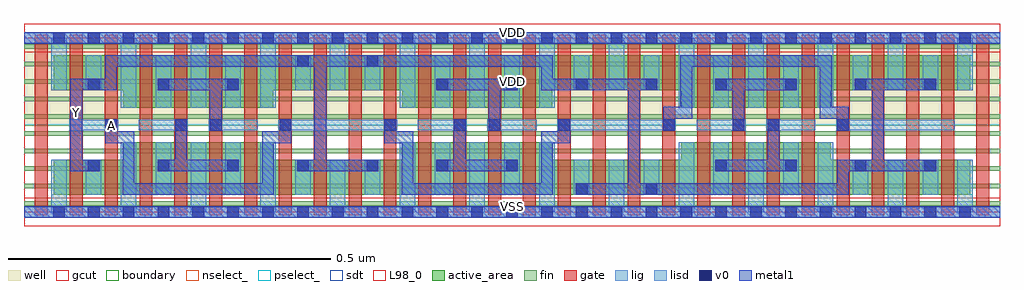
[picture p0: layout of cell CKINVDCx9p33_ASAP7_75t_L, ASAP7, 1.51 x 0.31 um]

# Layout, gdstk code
import gdstk
lib = gdstk.Library(unit=1e-6, precision=2.5e-10)
def R(c, l, rs):  # rectangles x0, y0, x1, y1
    for r in rs: c.add(gdstk.rectangle(r[:2], r[2:], *l))
def A(c, l, x, y, w, h, nx, ny, dx, dy):  # array of equal rectangles
    R(c, l, [(x+i*dx, y+j*dy, x+i*dx+w, y+j*dy+h) for i in range(nx) for j in range(ny)])
def P(c, l, *ps):  # polygons
    for p in ps: c.add(gdstk.Polygon(p, *l))
well = (1, 0)
fin = (2, 0)
gate = (7, 0)
gcut = (10, 0)
active_area = (11, 0)
nselect_ = (12, 0)
pselect_ = (13, 0)
lig = (16, 0)
lisd = (17, 0)
v0 = (18, 0)
metal1 = (19, 0)
sdt = (88, 0)
L98_0 = (98, 0)
boundary = (100, 0)

ckinvdcx9p33_asap7_75t_l = lib.new_cell('CKINVDCx9p33_ASAP7_75t_L')
R(ckinvdcx9p33_asap7_75t_l, well, [(0,0.135,1.512,0.27)])
A(ckinvdcx9p33_asap7_75t_l, fin, 0, 0.01, 1.512, 0.007, 1, 10, 0, 0.027)
A(ckinvdcx9p33_asap7_75t_l, gate, 0.017, -0.005, 0.02, 0.28, 28, 1, 0.054, 0)
R(ckinvdcx9p33_asap7_75t_l, gcut, [(0,-0.022,1.512,0.022), (0,0.248,1.512,0.292)])
P(ckinvdcx9p33_asap7_75t_l, active_area, [(1.25,0.108),(1.018,0.108),(1.018,0.081),(0.818,0.081),(0.818,0.108),(0.586,0.108),(0.586,0.081),(0.386,0.081),(0.386,0.108),(0.154,0.108),(0.154,0.081),(0.046,0.081),(0.046,0.027),(1.466,0.027),(1.466,0.081),(1.25,0.081)],
  [(1.466,0.243),(0.046,0.243),(0.046,0.189),(0.154,0.189),(0.154,0.162),(0.386,0.162),(0.386,0.189),(0.586,0.189),(0.586,0.162),(0.818,0.162),(0.818,0.189),(1.018,0.189),(1.018,0.162),(1.25,0.162),(1.25,0.189),(1.466,0.189)])
R(ckinvdcx9p33_asap7_75t_l, nselect_, [(0,0,1.512,0.135)])
R(ckinvdcx9p33_asap7_75t_l, pselect_, [(0,0.135,1.512,0.27)])
A(ckinvdcx9p33_asap7_75t_l, lig, 0.07, 0.127, 0.076, 0.016, 3, 1, 0.108, 0)
A(ckinvdcx9p33_asap7_75t_l, lig, 0.394, 0.127, 0.184, 0.016, 3, 1, 0.432, 0)
R(ckinvdcx9p33_asap7_75t_l, lig, [(0,-0.008,1.512,0.008), (0.07,0.126,0.092,0.144), (0.232,0.126,0.254,0.144), (0.286,0.126,0.308,0.144), (0.448,0.126,0.47,0.144), (0.664,0.126,0.686,0.144), (0.718,0.126,0.74,0.144), (0.826,0.126,0.848,0.144), (1.096,0.126,1.118,0.144), (1.15,0.126,1.172,0.144), (1.258,0.126,1.28,0.144), (0.61,0.127,0.686,0.143), (0.718,0.127,0.794,0.143), (1.042,0.127,1.118,0.143), (1.15,0.127,1.226,0.143), (0,0.262,1.512,0.278)])
R(ckinvdcx9p33_asap7_75t_l, lisd, [(0.042,0,0.066,0.081), (0.042,0,0.066,0.081), (0.15,0,0.174,0.108), (0.15,0,0.174,0.108), (0.258,0,0.282,0.108), (0.258,0,0.282,0.108), (0.366,0,0.39,0.108), (0.366,0,0.39,0.108), (0.474,0,0.498,0.081), (0.474,0,0.498,0.081), (0.582,0,0.606,0.108), (0.582,0,0.606,0.108), (0.69,0,0.714,0.108), (0.69,0,0.714,0.108), (0.798,0,0.822,0.108), (0.798,0,0.822,0.108), (0.906,0,0.93,0.081), (0.906,0,0.93,0.081), (1.014,0,1.038,0.108), (1.014,0,1.038,0.108), (1.122,0,1.146,0.108), (1.122,0,1.146,0.108), (1.23,0,1.254,0.108), (1.23,0,1.254,0.108), (1.338,0,1.362,0.081), (1.338,0,1.362,0.081), (1.446,0,1.47,0.081), (1.446,0,1.47,0.081), (0.096,0.027,0.12,0.081), (0.204,0.027,0.228,0.108), (0.312,0.027,0.336,0.108), (0.42,0.027,0.444,0.081), (0.528,0.027,0.552,0.081), (0.636,0.027,0.66,0.108), (0.744,0.027,0.768,0.108), (0.852,0.027,0.876,0.081), (0.96,0.027,0.984,0.081), (1.068,0.027,1.092,0.108), (1.176,0.027,1.2,0.108), (1.284,0.027,1.308,0.081), (1.392,0.027,1.416,0.081), (0.15,0.162,0.174,0.27), (0.15,0.162,0.174,0.27), (0.204,0.162,0.228,0.243), (0.258,0.162,0.282,0.27), (0.258,0.162,0.282,0.27), (0.312,0.162,0.336,0.243), (0.366,0.162,0.39,0.27), (0.366,0.162,0.39,0.27), (0.582,0.162,0.606,0.27), (0.582,0.162,0.606,0.27), (0.636,0.162,0.66,0.243), (0.69,0.162,0.714,0.27), (0.69,0.162,0.714,0.27), (0.744,0.162,0.768,0.243), (0.798,0.162,0.822,0.27), (0.798,0.162,0.822,0.27), (1.014,0.162,1.038,0.27), (1.014,0.162,1.038,0.27), (1.068,0.162,1.092,0.243), (1.122,0.162,1.146,0.27), (1.122,0.162,1.146,0.27), (1.176,0.162,1.2,0.243), (1.23,0.162,1.254,0.27), (1.23,0.162,1.254,0.27), (0.042,0.189,0.066,0.27), (0.042,0.189,0.066,0.27), (0.096,0.189,0.12,0.243), (0.42,0.189,0.444,0.243), (0.474,0.189,0.498,0.27), (0.474,0.189,0.498,0.27), (0.528,0.189,0.552,0.243), (0.852,0.189,0.876,0.243), (0.906,0.189,0.93,0.27), (0.906,0.189,0.93,0.27), (0.96,0.189,0.984,0.243), (1.284,0.189,1.308,0.243), (1.338,0.189,1.362,0.27), (1.338,0.189,1.362,0.27), (1.392,0.189,1.416,0.243), (1.446,0.189,1.47,0.27), (1.446,0.189,1.47,0.27)])
A(ckinvdcx9p33_asap7_75t_l, v0, 0.045, -0.009, 0.018, 0.018, 27, 2, 0.054, 0.27)
A(ckinvdcx9p33_asap7_75t_l, v0, 0.099, 0.063, 0.018, 0.018, 7, 1, 0.108, 0)
A(ckinvdcx9p33_asap7_75t_l, v0, 1.071, 0.063, 0.018, 0.018, 4, 1, 0.108, 0)
A(ckinvdcx9p33_asap7_75t_l, v0, 0.099, 0.189, 0.018, 0.018, 3, 1, 0.108, 0)
A(ckinvdcx9p33_asap7_75t_l, v0, 0.639, 0.189, 0.018, 0.018, 8, 1, 0.108, 0)
R(ckinvdcx9p33_asap7_75t_l, v0, [(0.855,0.027,0.873,0.045), (0.963,0.027,0.981,0.045), (0.126,0.126,0.144,0.144), (0.234,0.126,0.252,0.144), (0.288,0.126,0.306,0.144), (0.396,0.126,0.414,0.144), (0.558,0.126,0.576,0.144), (0.666,0.126,0.684,0.144), (0.72,0.126,0.738,0.144), (0.828,0.126,0.846,0.144), (0.99,0.126,1.008,0.144), (1.098,0.126,1.116,0.144), (1.152,0.126,1.17,0.144), (1.26,0.126,1.278,0.144), (0.423,0.225,0.441,0.243), (0.531,0.225,0.549,0.243)])
A(ckinvdcx9p33_asap7_75t_l, metal1, 0.099, 0.063, 0.018, 0.018, 7, 1, 0.108, 0)
A(ckinvdcx9p33_asap7_75t_l, metal1, 1.071, 0.063, 0.018, 0.018, 4, 1, 0.108, 0)
A(ckinvdcx9p33_asap7_75t_l, metal1, 0.099, 0.189, 0.018, 0.018, 3, 1, 0.108, 0)
A(ckinvdcx9p33_asap7_75t_l, metal1, 0.639, 0.189, 0.018, 0.018, 8, 1, 0.108, 0)
R(ckinvdcx9p33_asap7_75t_l, metal1, [(0,-0.009,1.512,0.009), (0.855,0.027,0.873,0.045), (0.963,0.027,0.981,0.045), (0.126,0.126,0.144,0.144), (0.234,0.126,0.252,0.144), (0.288,0.126,0.306,0.144), (0.396,0.126,0.414,0.144), (0.558,0.126,0.576,0.144), (0.666,0.126,0.684,0.144), (0.72,0.126,0.738,0.144), (0.828,0.126,0.846,0.144), (0.99,0.126,1.008,0.144), (1.098,0.126,1.116,0.144), (1.152,0.126,1.17,0.144), (1.26,0.126,1.278,0.144), (0.423,0.225,0.441,0.243), (0.531,0.225,0.549,0.243), (0,0.261,1.512,0.279)])
P(ckinvdcx9p33_asap7_75t_l, metal1, [(1.26,0.126),(1.278,0.126),(1.278,0.163),(1.251,0.163),(1.251,0.243),(1.017,0.243),(1.017,0.163),(0.99,0.163),(0.99,0.126),(1.008,0.126),(1.008,0.145),(1.035,0.145),(1.035,0.225),(1.233,0.225),(1.233,0.145),(1.26,0.145)],
  [(0.819,0.107),(0.846,0.107),(0.846,0.144),(0.828,0.144),(0.828,0.125),(0.801,0.125),(0.801,0.045),(0.603,0.045),(0.603,0.125),(0.576,0.125),(0.576,0.144),(0.558,0.144),(0.558,0.107),(0.585,0.107),(0.585,0.027),(0.819,0.027)],
  [(0.387,0.107),(0.414,0.107),(0.414,0.144),(0.396,0.144),(0.396,0.125),(0.369,0.125),(0.369,0.045),(0.171,0.045),(0.171,0.125),(0.144,0.125),(0.144,0.144),(0.126,0.144),(0.126,0.107),(0.153,0.107),(0.153,0.027),(0.387,0.027)],
  [(1.413,0.207),(1.287,0.207),(1.287,0.189),(1.314,0.189),(1.314,0.081),(1.26,0.081),(1.26,0.045),(0.954,0.045),(0.954,0.189),(0.981,0.189),(0.981,0.207),(0.819,0.207),(0.819,0.243),(0.126,0.243),(0.126,0.207),(0.072,0.207),(0.072,0.063),(0.117,0.063),(0.117,0.081),(0.09,0.081),(0.09,0.189),(0.144,0.189),(0.144,0.225),(0.45,0.225),(0.45,0.081),(0.423,0.081),(0.423,0.063),(0.549,0.063),(0.549,0.081),(0.468,0.081),(0.468,0.225),(0.801,0.225),(0.801,0.189),(0.936,0.189),(0.936,0.045),(0.855,0.045),(0.855,0.027),(1.278,0.027),(1.278,0.063),(1.413,0.063),(1.413,0.081),(1.332,0.081),(1.332,0.189),(1.413,0.189)],
  [(0.252,0.144),(0.234,0.144),(0.234,0.081),(0.207,0.081),(0.207,0.063),(0.333,0.063),(0.333,0.081),(0.252,0.081)],
  [(0.207,0.189),(0.288,0.189),(0.288,0.126),(0.306,0.126),(0.306,0.189),(0.333,0.189),(0.333,0.207),(0.207,0.207)],
  [(0.684,0.144),(0.666,0.144),(0.666,0.081),(0.639,0.081),(0.639,0.063),(0.765,0.063),(0.765,0.081),(0.684,0.081)],
  [(0.639,0.189),(0.72,0.189),(0.72,0.126),(0.738,0.126),(0.738,0.189),(0.765,0.189),(0.765,0.207),(0.639,0.207)],
  [(1.197,0.207),(1.071,0.207),(1.071,0.189),(1.098,0.189),(1.098,0.126),(1.116,0.126),(1.116,0.189),(1.197,0.189)],
  [(1.197,0.081),(1.17,0.081),(1.17,0.144),(1.152,0.144),(1.152,0.081),(1.071,0.081),(1.071,0.063),(1.197,0.063)])
A(ckinvdcx9p33_asap7_75t_l, sdt, 0.15, 0.027, 0.024, 0.081, 3, 2, 0.054, 0.135)
A(ckinvdcx9p33_asap7_75t_l, sdt, 0.258, 0.027, 0.024, 0.081, 3, 2, 0.054, 0.135)
A(ckinvdcx9p33_asap7_75t_l, sdt, 0.582, 0.027, 0.024, 0.081, 3, 2, 0.054, 0.135)
A(ckinvdcx9p33_asap7_75t_l, sdt, 0.69, 0.027, 0.024, 0.081, 3, 2, 0.054, 0.135)
A(ckinvdcx9p33_asap7_75t_l, sdt, 1.014, 0.027, 0.024, 0.081, 3, 2, 0.054, 0.135)
A(ckinvdcx9p33_asap7_75t_l, sdt, 1.122, 0.027, 0.024, 0.081, 3, 2, 0.054, 0.135)
A(ckinvdcx9p33_asap7_75t_l, sdt, 1.338, 0.027, 0.024, 0.054, 3, 2, 0.054, 0.162)
R(ckinvdcx9p33_asap7_75t_l, sdt, [(0.042,0.027,0.066,0.081), (0.042,0.027,0.066,0.081), (0.096,0.027,0.12,0.081), (0.15,0.027,0.174,0.108), (0.366,0.027,0.39,0.108), (0.42,0.027,0.444,0.081), (0.474,0.027,0.498,0.081), (0.474,0.027,0.498,0.081), (0.528,0.027,0.552,0.081), (0.582,0.027,0.606,0.108), (0.798,0.027,0.822,0.108), (0.852,0.027,0.876,0.081), (0.906,0.027,0.93,0.081), (0.906,0.027,0.93,0.081), (0.96,0.027,0.984,0.081), (1.014,0.027,1.038,0.108), (1.23,0.027,1.254,0.108), (1.284,0.027,1.308,0.081), (1.338,0.027,1.362,0.081), (1.446,0.027,1.47,0.081), (0.15,0.162,0.174,0.243), (0.366,0.162,0.39,0.243), (0.582,0.162,0.606,0.243), (0.798,0.162,0.822,0.243), (1.014,0.162,1.038,0.243), (1.23,0.162,1.254,0.243), (0.042,0.189,0.066,0.243), (0.042,0.189,0.066,0.243), (0.096,0.189,0.12,0.243), (0.42,0.189,0.444,0.243), (0.474,0.189,0.498,0.243), (0.474,0.189,0.498,0.243), (0.528,0.189,0.552,0.243), (0.852,0.189,0.876,0.243), (0.906,0.189,0.93,0.243), (0.906,0.189,0.93,0.243), (0.96,0.189,0.984,0.243), (1.284,0.189,1.308,0.243), (1.338,0.189,1.362,0.243), (1.446,0.189,1.47,0.243)])
R(ckinvdcx9p33_asap7_75t_l, L98_0, [(0,0,1.512,0.27)])
R(ckinvdcx9p33_asap7_75t_l, boundary, [(0,0,1.512,0.27)])
ckinvdcx9p33_asap7_75t_l.add(gdstk.Label('VDD', (0.756,0.2025), layer=1, texttype=251))
ckinvdcx9p33_asap7_75t_l.add(gdstk.Label('VSS', (0.756,-0.0675), layer=3, texttype=251))
ckinvdcx9p33_asap7_75t_l.add(gdstk.Label('VSS', (0.756,0.009), layer=19, texttype=251))
ckinvdcx9p33_asap7_75t_l.add(gdstk.Label('VDD', (0.756,0.279), layer=19, texttype=251))
ckinvdcx9p33_asap7_75t_l.add(gdstk.Label('A', (0.135,0.135), layer=19, texttype=251))
ckinvdcx9p33_asap7_75t_l.add(gdstk.Label('Y', (0.081,0.154), layer=19, texttype=251))

lib.write_gds('CKINVDCx9p33_ASAP7_75t_L.gds')
